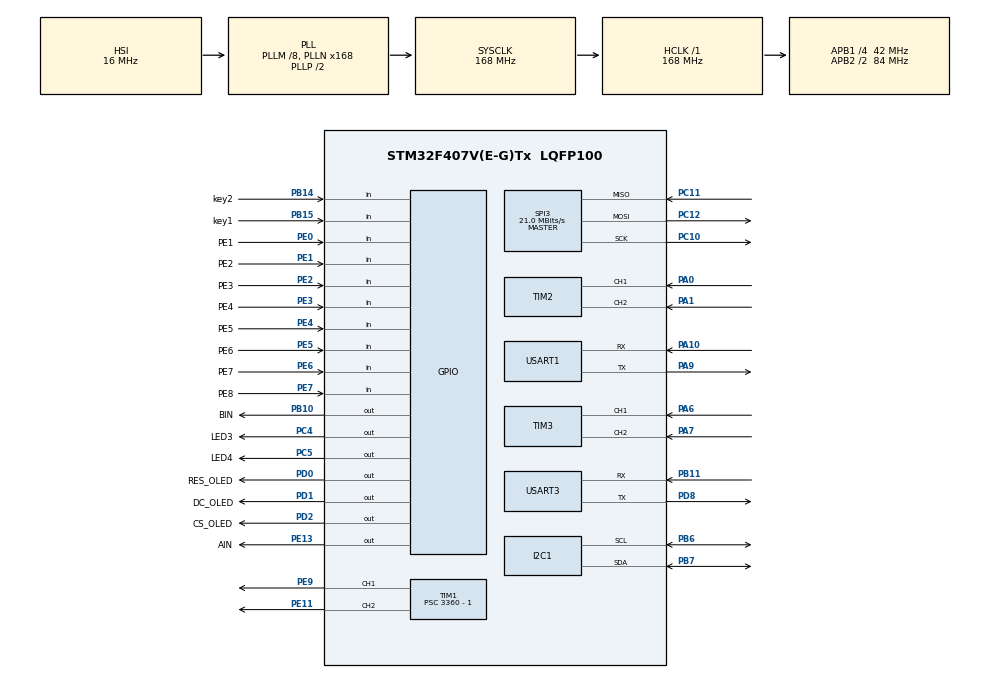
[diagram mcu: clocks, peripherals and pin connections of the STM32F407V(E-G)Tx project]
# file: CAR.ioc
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Mcu.Family=STM32F4
Mcu.Name=STM32F407V(E-G)Tx
Mcu.Package=LQFP100
NVIC.PriorityGroup=NVIC_PRIORITYGROUP_4
NVIC.TIM4_IRQn=true\:0\:0\:false\:false\:true\:true\:true\:true
NVIC.USART3_IRQn=true\:0\:0\:false\:false\:true\:true\:true\:true
PA0-WKUP.Signal=S_TIM2_CH1_ETR
PA1.Signal=S_TIM2_CH2
PA10.Mode=Asynchronous
PA10.Signal=USART1_RX
PA13.Mode=Serial_Wire
PA13.Signal=SYS_JTMS-SWDIO
PA14.Mode=Serial_Wire
PA14.Signal=SYS_JTCK-SWCLK
PA6.Signal=S_TIM3_CH1
PA7.Signal=S_TIM3_CH2
PA9.Mode=Asynchronous
PA9.Signal=USART1_TX
PB10.GPIO_Label=BIN
PB10.Signal=GPIO_Output
PB11.Mode=Asynchronous
PB11.Signal=USART3_RX
PB14.GPIO_Label=key2
PB14.Signal=GPIO_Input
PB15.GPIO_Label=key1
PB15.Signal=GPIO_Input
PB6.Mode=I2C
PB6.Signal=I2C1_SCL
PB7.Mode=I2C
PB7.Signal=I2C1_SDA
PC10.Mode=Full_Duplex_Master
PC10.Signal=SPI3_SCK
PC11.Mode=Full_Duplex_Master
PC11.Signal=SPI3_MISO
PC12.Mode=Full_Duplex_Master
PC12.Signal=SPI3_MOSI
PC4.GPIO_Label=LED3
PC4.Signal=GPIO_Output
PC5.GPIO_Label=LED4
PC5.Signal=GPIO_Output
PD0.GPIO_Label=RES_OLED
PD0.Signal=GPIO_Output
PD1.GPIO_Label=DC_OLED
PD1.Signal=GPIO_Output
PD2.GPIO_Label=CS_OLED
PD2.Signal=GPIO_Output
PD8.Mode=Asynchronous
PD8.Signal=USART3_TX
PE0.GPIO_Label=PE1
PE0.Signal=GPIO_Input
PE1.GPIO_Label=PE2
PE1.Signal=GPIO_Input
PE11.Signal=S_TIM1_CH2
PE13.GPIO_Label=AIN
PE13.Signal=GPIO_Output
PE2.GPIO_Label=PE3
PE2.Signal=GPIO_Input
PE3.GPIO_Label=PE4
PE3.Signal=GPIO_Input
PE4.GPIO_Label=PE5
PE4.Signal=GPIO_Input
PE5.GPIO_Label=PE6
PE5.Signal=GPIO_Input
PE6.GPIO_Label=PE7
PE6.Signal=GPIO_Input
PE7.GPIO_Label=PE8
PE7.Signal=GPIO_Input
PE9.Signal=S_TIM1_CH1
PH0-OSC_IN.Mode=HSE-External-Oscillator
PH0-OSC_IN.Signal=RCC_OSC_IN
PH1-OSC_OUT.Mode=HSE-External-Oscillator
PH1-OSC_OUT.Signal=RCC_OSC_OUT
ProjectManager.HeapSize=0x200
ProjectManager.StackSize=0x400
ProjectManager.TargetToolchain=MDK-ARM V5.32
RCC.48MHZClocksFreq_Value=84000000
RCC.AHBFreq_Value=168000000
RCC.APB1CLKDivider=RCC_HCLK_DIV4
RCC.APB1Freq_Value=42000000
RCC.APB1TimFreq_Value=84000000
RCC.APB2CLKDivider=RCC_HCLK_DIV2
RCC.APB2Freq_Value=84000000
RCC.APB2TimFreq_Value=168000000
RCC.CortexFreq_Value=168000000
RCC.HCLKFreq_Value=168000000
RCC.HSE_VALUE=8000000
RCC.HSI_VALUE=16000000
RCC.LSE_VALUE=32768
RCC.PLLM=8
RCC.PLLN=168
RCC.SYSCLKFreq_VALUE=168000000
RCC.SYSCLKSource=RCC_SYSCLKSOURCE_PLLCLK
RCC.VCOOutputFreq_Value=336000000
SH.S_TIM1_CH1.0=TIM1_CH1,PWM Generation1 CH1
SH.S_TIM1_CH2.0=TIM1_CH2,PWM Generation2 CH2
SH.S_TIM2_CH1_ETR.0=TIM2_CH1,Encoder_Interface
SH.S_TIM2_CH2.0=TIM2_CH2,Encoder_Interface
SH.S_TIM3_CH1.0=TIM3_CH1,Encoder_Interface
SH.S_TIM3_CH2.0=TIM3_CH2,Encoder_Interface
SPI3.CalculateBaudRate=21.0 MBits/s
SPI3.Direction=SPI_DIRECTION_2LINES
SPI3.Mode=SPI_MODE_MASTER
SPI3.VirtualType=VM_MASTER
TIM1.Channel-PWM\ Generation1\ CH1=TIM_CHANNEL_1
TIM1.Channel-PWM\ Generation2\ CH2=TIM_CHANNEL_2
TIM1.Period=100 - 1
TIM1.Prescaler=3360 - 1
TIM2.EncoderMode=TIM_ENCODERMODE_TI12
TIM3.EncoderMode=TIM_ENCODERMODE_TI12
TIM4.Period=100-1
TIM4.Prescaler=3360-1
USART1.VirtualMode=VM_ASYNC
USART3.VirtualMode=VM_ASYNC
VP_TIM1_VS_ClockSourceINT.Mode=Internal
VP_TIM4_VS_ClockSourceINT.Mode=Internal
board=custom

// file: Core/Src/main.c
/* USER CODE BEGIN Header */
/**
  ******************************************************************************
  * @file           : main.c
  * @brief          : 后驱循迹小车 - STM32F407VET6
  ******************************************************************************
  */
/* USER CODE END Header */
#include "main.h"
#include "i2c.h"
#include "spi.h"
#include "tim.h"
#include "usart.h"
#include "gpio.h"

/* USER CODE BEGIN Includes */
#include "oled.h"
#include "key_control.h"
#include "Motor_AT4950.h"
#include "grayscale.h"
#include "PID_Node.h"
#include "speed_control.h"      // 新增
#include "Log.h"
#include <string.h>
#include <stdio.h>
#include <math.h>
#include <mpu6050.h>
#include <mpu6050_user.h>
#include <MadgwickAHRS.h>
#include "mpu6050_user.h"
#include "control.h"

/* USER CODE END Includes */

/* USER CODE BEGIN PTD */
MotorAT4950 motor1;
MotorAT4950 motor2;
/* USER CODE END PTD */

/* USER CODE BEGIN PM */
#define LOW_FILITER_KP 0.2
/* USER CODE END PM */

MPU6050_Data_t* mpu = NULL;
/* USER CODE BEGIN PV */

// ==================== 电机对象 ====================

PID_Node left_pid, right_pid;

uint32_t last_time = 0;
float i1 = 0;
float i2 = 0;
float last_i1 = 0;
float last_i2 = 0;
float filiter_speed1 = 0.0f;
float filiter_speed2 = 0.0f;

int16_t encoder1_value;
int16_t encoder2_value;
int16_t	delta2;
int16_t	delta1;

extern uint8_t gray_byte;

extern float gray_error;

extern PID_Node yaw_pid;
PID_Node pidGrayscale;

/* USER CODE END PV */

void SystemClock_Config(void);
/* USER CODE BEGIN PFP */
void SetMotor1PWM(uint16_t ccr) {
    __HAL_TIM_SetCompare(&htim1, TIM_CHANNEL_1, ccr);
}
void SetMotor2PWM(uint16_t ccr) {
    __HAL_TIM_SetCompare(&htim1, TIM_CHANNEL_2, ccr);
}
void SetMotor1IN1(uint8_t level) {
    HAL_GPIO_WritePin(AIN_GPIO_Port, AIN_Pin, (GPIO_PinState)level);
}
void SetMotor2IN1(uint8_t level) {
    HAL_GPIO_WritePin(BIN_GPIO_Port, BIN_Pin, (GPIO_PinState)level);
}

/* USER CODE END PFP */

int main(void)
{

  /* USER CODE BEGIN 1 */
   PID_Limit limit1 = {
        .setpoint_min = 0.0f, .setpoint_max = 0.8f,
        .input_min    = 0.0f, .input_max    = 0.8f,
        .output_min   = -1000.0f,  .output_max   = 1000.0f,
        .integral_max = 1000.0f,    .derivative_max = 1000.0f,
        .deadband     = 0.0f      // 速度误差小于5 RPM时视为0
    };
    PID_Limit limit2 = {
        .setpoint_min = 0.0f, .setpoint_max = 0.8f,
        .input_min    = 0.0f, .input_max    = 0.8f,
        .output_min   = -1000.0f,  .output_max   = 1000.0f,
        .integral_max = 1000.0f,    .derivative_max = 1000.0f,
        .deadband     = 0.0f      // 速度误差小于5 RPM时视为0
    };

  /* USER CODE END 1 */

  /* MCU Configuration--------------------------------------------------------*/

  /* Reset of all peripherals, Initializes the Flash interface and the Systick. */
  HAL_Init();

  /* Configure the system clock */
  SystemClock_Config();

  /* Initialize all configured peripherals */
  MX_GPIO_Init();
  MX_I2C1_Init();
  MX_SPI3_Init();
  MX_TIM1_Init();
  MX_TIM2_Init();
  MX_TIM3_Init();
  MX_TIM4_Init();
  MX_USART1_UART_Init();
  MX_USART3_UART_Init();
  /* USER CODE BEGIN 2 */

  MPU_Init();
      // 2. 初始化电机驱动
    MotorInit_AT46950(&motor1,          // 注意函数名有拼写错误
                      SetMotor1PWM,
                      SetMotor1IN1,
                      100);           // Auto_Reload = 100
    MotorInit_AT46950(&motor2,
                      SetMotor2PWM,
                      SetMotor2IN1,
                      100);
    PID_Node_Init(&left_pid,"Left_PID",2000.0f, 1.0f, 0.0f);   // PID参数需要根据实际情况调整
    PID_Node_Init(&right_pid, "Right_PID", 2000.0f, 1.0f,0.0f);
    PID_Node_SetSetpoint(&left_pid, 0.0f);
    PID_Node_SetSetpoint(&right_pid, 0.0f);

    PID_Node_SetLimit(&left_pid, limit1);
    PID_Node_SetLimit(&right_pid, limit2);
    // OLED初始化
    OLED_Init();
    OLED_Clear();
    OLED_ShowString(0, 0, (uint8_t*)"F407 Car System", 16, 1);
    OLED_ShowString(0, 16, (uint8_t*)"Initializing...", 16, 1);
    OLED_Refresh();

	AngleControl_Init();

    // 按键初始化
    KeyControl_Init();
	Control_Init();
//    // 电机初始化
//    Motor_Init();
//
//    // PID初始化
//    PID_Init();
//
//    // 速度环初始化
//    SpeedLoop_Init();

    // 启动PWM
    HAL_TIM_PWM_Start(&htim1, TIM_CHANNEL_1);  // 左电机PWM (根据实际引脚修改)
    HAL_TIM_PWM_Start(&htim1, TIM_CHANNEL_2);  // 右电机PWM (根据实际引脚修改)
	HAL_TIM_Encoder_Start(&htim2, TIM_CHANNEL_ALL);
	HAL_TIM_Encoder_Start(&htim3, TIM_CHANNEL_ALL);

// 初始化MPU6050（假设已调用 MPU_Init()）
//if (MPU_Init() != 0) {
//    OLED_ShowString(0, 32, (uint8_t*)"MPU6050 Error!", 16, 1);
//    OLED_Refresh();
//    while(1);
//}

// 显示校准提示
	OLED_Clear();
	OLED_ShowString(0, 0, (uint8_t*)"MPU Calibrating", 16, 1);
	OLED_ShowString(0, 16, (uint8_t*)"Keep Still...", 16, 1);
	OLED_Refresh();
	// 调用校准函数（内部会循环采样并显示进度）
	mpu = MPU6050_GetHandle();

	MPU6050_Calibrate(200);   // 该函数需自行实现进度显示（见下文修改）

	// 校准完成提示
	OLED_Clear();
	OLED_ShowString(0, 0, (uint8_t*)"MPU Ready", 16, 1);
	OLED_Refresh();

    HAL_Delay(200);

    LOG_INFO("Car system started with speed loop enabled");
//	printf("左电机: %d rpm, 右电机: %d rpm\r\n", left_motor_speed, right_motor_speed);
//	printf("当前速度: %.2f m/s\r\n", actual_velocity);
  /* USER CODE END 2 */

  /* Infinite loop */
  /* USER CODE BEGIN WHILE */

  SetDefaultDirection(&motor1, Low_Level);
  SetDefaultDirection(&motor2, Low_Level);
//		Motor_setSpeed(&motor1,1000 );
//		Motor_setSpeed(&motor2, 400);

      HAL_TIM_Base_Start_IT(&htim4); // 启动定时器4中断，用于周期性任务

  while (1)
  {
//		static uint32_t last_mpu_update = 0;
		if(HAL_GetTick() - last_time > 20)
		  {
			  printf("%.2f,%.2f,%.2f,%.2f,%.2f\n",filiter_speed1,filiter_speed2,yaw_pid.output,left_pid.setpoint,right_pid.setpoint);
	//		LOG_DEBUG("Test print");
			  last_time = HAL_GetTick();
		  }
    	static uint32_t last_display = 0;
		if (HAL_GetTick() - last_display >= 100) {
			last_display = HAL_GetTick();
			char buf[32];
			OLED_Clear();
			snprintf(buf, sizeof(buf), "L:%.2f R:%.2f", filiter_speed2, filiter_speed1);
			OLED_ShowString(0, 0, (uint8_t*)buf, 12, 1);
			snprintf(buf, sizeof(buf), "Yaw:%.1f", mpu->yaw);
			OLED_ShowString(0, 16, (uint8_t*)buf, 12, 1);
			snprintf(buf,sizeof(buf),"gray_byte:0x%x",gray_byte);
			OLED_ShowString(0, 32, (uint8_t*)buf, 12, 1);
			OLED_Refresh();
		}

  }
  /* USER CODE END 3 */
}

void SystemClock_Config(void)
{
  RCC_OscInitTypeDef RCC_OscInitStruct = {0};
  RCC_ClkInitTypeDef RCC_ClkInitStruct = {0};

  /** Configure the main internal regulator output voltage
  */
  __HAL_RCC_PWR_CLK_ENABLE();
  __HAL_PWR_VOLTAGESCALING_CONFIG(PWR_REGULATOR_VOLTAGE_SCALE1);

  /** Initializes the RCC Oscillators according to the specified parameters
  * in the RCC_OscInitTypeDef structure.
  */
  RCC_OscInitStruct.OscillatorType = RCC_OSCILLATORTYPE_HSI;
  RCC_OscInitStruct.HSIState = RCC_HSI_ON;
  RCC_OscInitStruct.HSICalibrationValue = RCC_HSICALIBRATION_DEFAULT;
  RCC_OscInitStruct.PLL.PLLState = RCC_PLL_ON;
  RCC_OscInitStruct.PLL.PLLSource = RCC_PLLSOURCE_HSI;
  RCC_OscInitStruct.PLL.PLLM = 8;
  RCC_OscInitStruct.PLL.PLLN = 168;
  RCC_OscInitStruct.PLL.PLLP = RCC_PLLP_DIV2;
  RCC_OscInitStruct.PLL.PLLQ = 4;
  if (HAL_RCC_OscConfig(&RCC_OscInitStruct) != HAL_OK)
  {
    Error_Handler();
  }

  /** Initializes the CPU, AHB and APB buses clocks
  */
  RCC_ClkInitStruct.ClockType = RCC_CLOCKTYPE_HCLK|RCC_CLOCKTYPE_SYSCLK
                              |RCC_CLOCKTYPE_PCLK1|RCC_CLOCKTYPE_PCLK2;
  RCC_ClkInitStruct.SYSCLKSource = RCC_SYSCLKSOURCE_PLLCLK;
  RCC_ClkInitStruct.AHBCLKDivider = RCC_SYSCLK_DIV1;
  RCC_ClkInitStruct.APB1CLKDivider = RCC_HCLK_DIV4;
  RCC_ClkInitStruct.APB2CLKDivider = RCC_HCLK_DIV2;

  if (HAL_RCC_ClockConfig(&RCC_ClkInitStruct, FLASH_LATENCY_5) != HAL_OK)
  {
    Error_Handler();
  }
}

/* USER CODE BEGIN 4 */

void HAL_TIM_PeriodElapsedCallback(TIM_HandleTypeDef *htim)
{
//  static uint32_t count = 0 ;
//	uint32_t now = HAL_GetTick();
//	float target_angle = 0.0f;   // 可替换为遥控/按键输入的目标角度
//	float base_speed = 0.1f;     // 基础前进速度

//    if (htim->Instance == TIM4) {
//        // 这里可以放置定时器中断处理代码，例如周期性任务
//		count++;
//		if(count % 5 ==0)
//		{
//			MPU6050_Update();   // ★ 关键：更新姿态数据
//			static int16_t last1 = 0;
//			static int16_t last2 = 0;
//
//			 encoder1_value = (int16_t) __HAL_TIM_GetCounter(&htim2);
//			 encoder2_value = -(int16_t) __HAL_TIM_GetCounter(&htim3);
//			delta1 =	encoder1_value - last1 ;
//			last1 = encoder1_value;
//			delta2 =	encoder2_value - last2;
//			last2 = encoder2_value;
//			 i1 =	delta1 * SPEED_COEFF * 10.0f;
//			 i2 =	delta2 * SPEED_COEFF * 10.0f;
//			filiter_speed1 = i1 * LOW_FILITER_KP + last_i1 * (1 - LOW_FILITER_KP);
//			filiter_speed2 = i2 * LOW_FILITER_KP + last_i2 * (1 - LOW_FILITER_KP);
//			last_i1 = filiter_speed1;
//			last_i2 = filiter_speed2;

//		}
//		PID_Node_UpdateMeasurement(&left_pid, filiter_speed1);
//		PID_Node_UpdateMeasurement(&right_pid, filiter_speed2);

//		AngleControl_Update(base_speed, target_angle, 4.0f);
//		PID_ExecuteNode(&left_pid, 4.0f);   // 这里的dt需要根据实际控制周期调整
//		PID_ExecuteNode(&right_pid, 4.0f);  // 这里的dt需要根据实际控制周期调整
//		Motor_setSpeed(&motor1,left_pid.output );
//		Motor_setSpeed(&motor2, right_pid.output);

//
//		static uint32_t last_angle_time = 0;
//
//        if(count >= 200) { // 每200次中断（约800ms）执行一次
//            count = 0;
//            //在这里执行需要周期性处理的任务，例如更新OLED显示、读取传感器数据等
////            LOG_INFO("TIM4 interrupt triggered");
//        }
//					// 示例：每20ms执行一次角度环
    static uint32_t count = 0;
    float base_speed = 0.30f;           // 基础速度 m/s（可调）
    float gray_to_speed_gain = 0.5f;    // 灰度输出->速度差系数
    float max_speed_diff = 0.3f;        // 最大速度差限幅

    if (htim->Instance == TIM4)
    {
        count++;
        // 每5次中断更新一次 MPU6050 和速度（原逻辑保留）
        if (count % 5 == 0)
        {
            MPU6050_Update();
            static int16_t last1 = 0, last2 = 0;
            encoder1_value = (int16_t)__HAL_TIM_GET_COUNTER(&htim2);
            encoder2_value = -(int16_t)__HAL_TIM_GET_COUNTER(&htim3);
            delta1 = encoder1_value - last1;
            last1 = encoder1_value;
            delta2 = encoder2_value - last2;
            last2 = encoder2_value;

            i1 = delta1 * SPEED_COEFF * 10.0f;
            i2 = delta2 * SPEED_COEFF * 10.0f;
            filiter_speed1 = i1 * LOW_FILITER_KP + last_i1 * (1 - LOW_FILITER_KP);
            filiter_speed2 = i2 * LOW_FILITER_KP + last_i2 * (1 - LOW_FILITER_KP);
            last_i1 = filiter_speed1;
            last_i2 = filiter_speed2;
        }

        // ========== 串级控制：灰度环（外环）→ 速度环（内环） ==========
        // 每10次中断执行一次灰度 PID（约40ms，假设中断周期4ms）

            // 1. 读取灰度传感器
		gray_byte = GPIOE->IDR & 0xFF;
		gray_error = CalculateGrayError_Advanced(gray_byte);

		// 2. 灰度 PID 计算
		PID_Node_UpdateMeasurement(&pidGrayscale, gray_error);
		PID_ExecuteNode(&pidGrayscale, 4.0f);   // dt 按您要求保持4.0
		float gray_output = pidGrayscale.output;   // -1000 ~ 1000

		// 3. 转换为速度差
		float speed_diff = gray_output;
		if (speed_diff > max_speed_diff) speed_diff = max_speed_diff;
		if (speed_diff < -max_speed_diff) speed_diff = -max_speed_diff;

		// 4. 计算左右轮目标速度
		float target_left = base_speed + speed_diff;
		float target_right = base_speed - speed_diff;
		if (target_left < 0) target_left = 0;
		if (target_right < 0) target_right = 0;

		// 5. 设置速度内环的设定点
		PID_Node_SetSetpoint(&left_pid, target_left);
		PID_Node_SetSetpoint(&right_pid, target_right);

        // ===========================================================

        // 更新速度测量值
        PID_Node_UpdateMeasurement(&left_pid, filiter_speed1);
        PID_Node_UpdateMeasurement(&right_pid, filiter_speed2);

        // 执行速度 PID（内环）
        PID_ExecuteNode(&left_pid, 4.0f);
        PID_ExecuteNode(&right_pid, 4.0f);

        // 电机输出
        Motor_setSpeed(&motor1, (int16_t)left_pid.output);
        Motor_setSpeed(&motor2, (int16_t)right_pid.output);

        // 计数器清零（保留原逻辑）
        if (count >= 200) {
            count = 0;
        }
    }
}

/* USER CODE END 4 */

void Error_Handler(void)
{
  __disable_irq();
  while (1)
  {
  }
}
